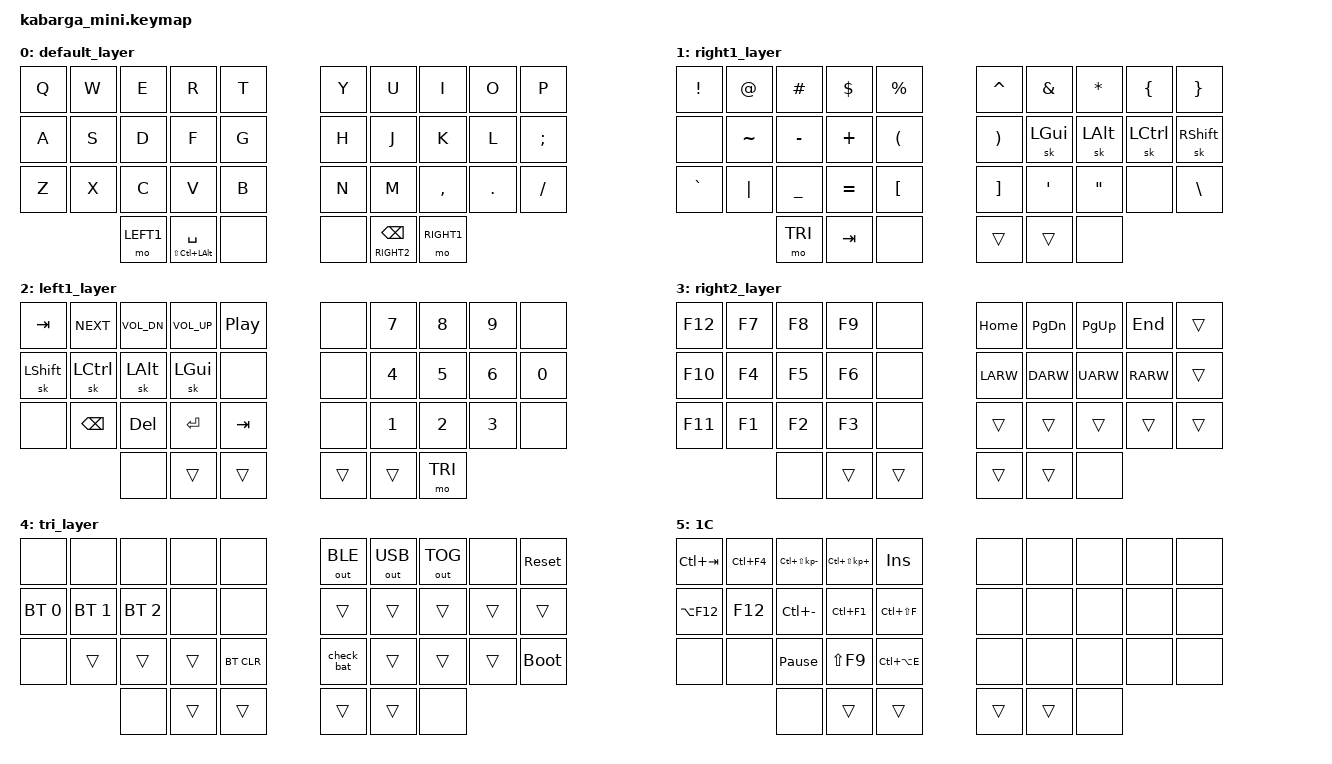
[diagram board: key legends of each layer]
/*
 * Copyright (c) 2020 The ZMK Contributors
 *
 * SPDX-License-Identifier: MIT
 */

#include <behaviors.dtsi>
#include <dt-bindings/zmk/keys.h>
#include <dt-bindings/zmk/bt.h>
#include <dt-bindings/zmk/outputs.h>
#include <dt-bindings/zmk/ext_power.h>
#include <dt-bindings/zmk/rgb.h>

#define DEFAULT 0
#define RIGHT1   1
#define LEFT1    2
#define RIGHT2   3
#define TRI      4
#define ODIN_C   5

&lt {
    tapping-term-ms = <250>;
};

&mt {
    tapping-term-ms = <250>;
    flavor = "tap-preferred";
};

&sl {
    release-after-ms = <1000>;
};

/ {
    macros {
        language_macro: language_macro {
            compatible = "zmk,behavior-macro";
            #binding-cells = <0>;
            wait-ms = <10>;
            tap-ms = <5>;
            bindings
                = <&kp LS(LC(LA(BSLH)))>
                , <&kp LA(LSHIFT)>
                // , <&kp LG(LA(F2))>
                // , <&kp LS(LC(LA(LEFT_BRACKET)))> // {
                ;
        };
        language_macro_ru: language_macro_ru {
            compatible = "zmk,behavior-macro";
            #binding-cells = <0>;
            wait-ms = <10>;
            tap-ms = <5>;
            bindings
                = <&kp LS(LC(LA(MINUS)))>
                , <&kp LA(LSHIFT)>
                // , <&kp LG(LA(F3))>
                // , <&kp LS(LC(LA(RIGHT_BRACKET)))> // }
                ;
        };
    };

    combos {
        #include "combos.dtsi"
    };

    keymap {
        compatible = "zmk,keymap";
        default_layer {
            bindings = <
        //╭──────────┬──────────┬──────────┬──────────┬──────────╮        ╭──────────┬──────────┬──────────┬──────────┬──────────╮
        //│  Q       │  W       │  E       │  R       │  T       │        │  Y       │  U       │  I       │  O       │  P       │
            &kp Q      &kp W      &kp E      &kp R      &kp T               &kp Y      &kp U      &kp I      &kp O      &kp P
        //├──────────┼──────────┼──────────┼──────────┼──────────┤        ├──────────┼──────────┼──────────┼──────────┼──────────┤
        //│  A       │  S       │  D       │  F       │  G       │        │  H       │  J       │  K       │  L       │ ; :      │
            &kp A      &kp S      &kp D      &kp F      &kp G               &kp H      &kp J      &kp K      &kp L     &kp SEMI
        //├──────────┼──────────┼──────────┼──────────┼──────────┤        ├──────────┼──────────┼──────────┼──────────┼──────────┤
        //│  Z       │  X       │  C       │  V       │  B       │        │  N       │  M       │ , <      │ . >      │ / ?      │
            &kp Z      &kp X      &kp C      &kp V      &kp B               &kp N      &kp M      &kp COMMA  &kp DOT    &kp FSLH
        //╰──────────┴──────────┴──────────┼──────────┼──────────┤        ├──────────┼──────────┼──────────┴──────────┴──────────╯
                       &mo LEFT1  &mt LS(LC(LALT)) SPACE &none              &none      &lt RIGHT2 BSPC   &mo RIGHT1 
        //                                 ╰──────────┴──────────╯        ╰──────────┴──────────╯
            >;
        };

        right1_layer {
            bindings = <
        //╭──────────┬──────────┬──────────┬──────────┬──────────╮   ╭──────────┬──────────┬──────────┬──────────┬──────────╮
        //│ !        │  @       │  #       │  $       │ %        │   │  ^       │  &       │  *       │  {       │  }       │
            &kp EXCL   &kp AT     &kp HASH   &kp DLLR   &kp PRCNT      &kp CARET  &kp AMPS   &kp ASTRK  &kp LBRC   &kp RBRC
        //├──────────┼──────────┼──────────┼──────────┼──────────┤   ├──────────┼──────────┼──────────┼──────────┼──────────┤
        //│ XXXXXX   │  ~       │  -       │  +       │ (        │   │   )      │  Command │  Option  │~Control~ │  ~Shift~ │
            &none      &kp TILDE  &kp MINUS  &kp PLUS  &kp LPAR        &kp RPAR   &sk LGUI   &sk LALT  &sk LCTRL   &sk RSHIFT
        //├──────────┼──────────┼──────────┼──────────┼──────────┤   ├──────────┼──────────┼──────────┼──────────┼──────────┤
        //│ `        │ |        │ _        │  =       │  [       │   │    ]     │  '       │  "       │  XXXXXX  │    \     │
            &kp GRAVE  &kp PIPE   &kp UNDER  &kp EQUAL  &kp LBKT       &kp RBKT   &kp SQT    &kp DQT    &none       &kp BSLH
        //╰──────────┴──────────┴──────────┼──────────┼──────────┤   ├──────────┼──────────┼──────────┴──────────┴──────────╯
                                  &mo TRI     &kp TAB    &none          &trans     &trans    &none
        //                                 ╰──────────┴──────────╯   ╰──────────┴──────────╯
            >;
        };


        left1_layer {
            bindings = <
        //╭──────────┬──────────┬──────────┬──────────┬──────────╮   ╭──────────┬──────────┬──────────┬──────────┬──────────╮
        //│ Prev song│ Next song│ Vol Down │ Vol UP   │ Pause    │   │ XXXXXX   │  7       │  8       │  9       │  XXXXXX  │
            &kp TAB   &kp C_NEXT &kp C_VOL_DN &kp C_VOL_UP &kp C_PP      &none     &kp N7     &kp N8     &kp N9     &none    
        // &bt BT_SEL 0  &bt BT_SEL 1 &bt BT_SEL 2 &bt BT_SEL 3 &bt BT_SEL 4    &trans     &kp N7     &kp N8     &kp N9     &trans 
        //├──────────┼──────────┼──────────┼──────────┼──────────┤   ├──────────┼──────────┼──────────┼──────────┼──────────┤
        //│ ~Shift~  │ ~Control~│  Option  │  Command │ XXXXXX   │   │  XXXXXX  │  4       │  5       │  6       │  0       │
           &sk LSHIFT  &sk LCTRL  &sk LALT   &sk LGUI  &none           &none     &kp N4     &kp N5     &kp N6     &kp N0
        //├──────────┼──────────┼──────────┼──────────┼──────────┤   ├──────────┼──────────┼──────────┼──────────┼──────────┤
        //│  XXXXXX  │  Delete  │Backspace │ ENTER    │ TAB      │   │  XXXXXX  |  1       │  2       │  3       │ XXXXXX   │
            &none       &kp BSPC  &kp DEL   &kp ENTER  &kp TAB          &none     &kp N1     &kp N2     &kp N3      &none
        //╰──────────┴──────────┴──────────┼──────────┼──────────┤   ├──────────┼──────────┼──────────┴──────────┴──────────╯
                                  &none      &trans     &trans         &trans     &trans     &mo TRI
        //                                 ╰──────────┴──────────╯   ╰──────────┴──────────╯
            >;
        };

        right2_layer {
            bindings = <
        //╭──────────┬──────────┬──────────┬──────────┬──────────╮   ╭──────────┬──────────┬──────────┬──────────┬──────────╮
        //│  F12     │   F7     │   F8     │   F9     │  XXXXXX  │   │ HOME     │ PAGE DN  │ PAGE UP  │ END      │          │
            &kp F12     &kp F7     &kp F8     &kp F9     &none          &kp HOME   &kp PG_DN  &kp PG_UP  &kp END   &trans
        //├──────────┼──────────┼──────────┼──────────┼──────────┤   ├──────────┼──────────┼──────────┼──────────┼──────────┤
        //│  F10     │   F4     │   F5     │   F6     │  XXXXXX  │   │ LEFT     │ DOWN     │ UP       │ RIGHT    │          │
            &kp F10     &kp F4     &kp F5     &kp F6     &none          &kp LARW   &kp DARW   &kp UARW   &kp RARW  &trans
        //├──────────┼──────────┼──────────┼──────────┼──────────┤   ├──────────┼──────────┼──────────┼──────────┼──────────┤
        //│  F11     │   F1     │   F2     │   F3     │  XXXXXX  │   │          │          │          │          │          │
            &kp F11     &kp F1     &kp F2     &kp F3     &none          &trans     &trans     &trans     &trans    &trans
        //╰──────────┴──────────┴──────────┼──────────┼──────────┤   ├──────────┼──────────┼──────────┴──────────┴──────────╯
                                   &none      &trans     &trans         &trans     &trans     &none
        //                                 ╰──────────┴──────────╯   ╰──────────┴──────────╯
            >;
        };

        tri_layer {
            bindings = <
        //╭──────────┬──────────┬──────────┬──────────┬──────────╮   ╭──────────┬──────────┬──────────┬──────────┬──────────╮
        //│          │          │          │          │          │   │          │          │          │          │  RESET   │
           &none       &none      &none      &none      &none       &out OUT_BLE &out OUT_USB &out OUT_TOG &none  &sys_reset
        //├──────────┼──────────┼──────────┼──────────┼──────────┤   ├──────────┼──────────┼──────────┼──────────┼──────────┤
        //│PROFILE 0 │PROFILE 1 │PROFILE 2 │          │          │   │          │          │          │          │          │
    &bt BT_SEL 0  &bt BT_SEL 1 &bt BT_SEL 2  &none      &none           &trans     &trans     &trans     &trans    &trans
        //├──────────┼──────────┼──────────┼──────────┼──────────┤   ├──────────┼──────────┼──────────┼──────────┼──────────┤
        //│          │          │          │          │ CLEAR BT │   │          │          │          │          │BOOTLOADER│
            &none      &trans     &trans    &trans     &bt BT_CLR      &check_bat    &trans     &trans     &trans    &bootloader
        //╰──────────┴──────────┴──────────┼──────────┼──────────┤   ├──────────┼──────────┼──────────┴──────────┴──────────╯
                                  &none      &trans     &trans         &trans     &trans      &none
        //                                 ╰──────────┴──────────╯   ╰──────────┴──────────╯
            >;
        };


        odin_c_layer {
            display-name = "1C";
            bindings = <
        //╭──────────┬──────────┬─────────          ─┬──────────          ┬──────────╮   ╭──────────┬──────────┬──────────┬──────────┬──────────╮
        //│          │          │                    │                    │          │   │          │          │          │          │          │
        &kp LC(TAB) &kp LC(F4)   &kp LC(LS(KP_MINUS)) &kp LC(LS(KP_PLUS)) &kp INS          &none      &none      &none      &none       &none
        //├──────────┼──────────┼─────────          ─┼──────────          ┼──────────┤   ├──────────┼──────────┼──────────┼──────────┼──────────┤
        //│          │          │                    │                    │          │   │          │          │          │          │          │
          &kp LA(F12) &kp F12     &kp LC(MINUS)       &kp LC(F1)           &kp LC(LS(F))   &none      &none      &none      &none       &none
        //├──────────┼──────────┼─────────          ─┼──────────          ┼──────────┤   ├──────────┼──────────┼──────────┼──────────┼──────────┤
        //│          │          │                    │                    │          │   │          │          │          │          │          │
           &none      &none       &kp PAUSE_BREAK    &kp LS(F9)           &kp LC(LA(E))    &none      &none      &none      &none       &none
        //╰──────────┴──────────┴─────────          ─┼──────────          ┼──────────┤   ├──────────┼──────────┼──────────┴──────────┴──────────╯
                                  &none               &trans               &trans          &trans     &trans     &none
        //                                           ╰──────────          ┴──────────╯   ╰──────────┴──────────╯
            >;
        };


    };
};





// #define DEF 0
// #define LWR 1
// #define RSE 2
// #define ADJ 3

// /*
// * &lt { quick_tap_ms = <220>; };
// * &mt { quick_tap_ms = <220>; };
//  */

// &lt {
//     quick_tap_ms = <220>;
//     require-prior-idle-ms = <150>;
//     flavor = "balanced";
//     tapping-term-ms = <280>;
// };

// &mt {
//     quick_tap_ms = <220>;
//     tapping-term-ms = <280>;
//     require-prior-idle-ms = <150>;
//     flavor = "balanced";
// };

// / {
//     macros {
//         numdot: numdot {
//             label = "ZM_numdot";
//             compatible = "zmk,behavior-macro";
//             #binding-cells = <0>;
//             wait-ms = <40>;
//             tap-ms = <40>;
//             bindings
//                 = <&macro_press   &kp LALT>    
//                 , <&macro_tap     &kp KP_N4 &kp KP_N6>    
//                 , <&macro_release &kp LALT>
//                 ;
//         };
//         grtsgn: grtsgn {
//             label = "ZM_grtsgn";
//             compatible = "zmk,behavior-macro";
//             #binding-cells = <0>;
//             wait-ms = <40>;
//             tap-ms = <40>;
//             bindings
//                 = <&macro_press   &kp LALT>    
//                 , <&macro_tap     &kp KP_N6 &kp KP_N2>    
//                 , <&macro_release &kp LALT>
//                 ;
//         };
//     };
// };
// / {
//         keymap {
//                 compatible = "zmk,keymap";

//                 default_layer {
// // ------------------------------------------------------------------------------------------------
// //|  Q  |  W  |  E  |  R  |  T  |   |  Y  |  U   |  I  |  O  |  P  | 
// //|  A  |  S  |  D  |  F  |  G  |   |  H  |  J   |  K  |  L  |  ;  |
// //|  Z  |  X  |  C  |  V  |  B  |   |  N  |  M   |  ,  |  .  |  /  |
// //            | RSE | SPC | LWR |   | LWR | BKSP | RSE |
//                         bindings = <
//  &kp Q &kp W &kp E &kp R &kp T               &kp Y  &kp U  &kp I     &kp O   &kp P    
//  &kp A &kp S &kp D &kp F &kp G               &kp H  &kp J  &kp K     &kp L   &kp SEMI 
//  &kp Z &kp X &kp C &kp V &kp B               &kp N  &kp M  &kp COMMA &kp DOT &kp FSLH 
//         &lt RSE TAB &mt LSHFT SPACE &lt LWR RET              &lt LWR ESC &mt RSHFT BSPC &lt RSE DEL
//                         >;
//                 };
//                 lower_layer {
// // -----------------------------------------------------------------------------------------
// //|  *  |  7 |  8  |  9  |  +  |    |  !  |  @  |  #  |  $  |  %  |
// //|  /  |  4 |  5  |  6  |  -  |    |  ^  |  &  |  *  |  (  |  )  |
// //|  0  |  1 |  4  |  3  |  .  |    |  ls |  F4 |  F5 |  F6 |  F7 |
// //                 | ADJ | ___ | ___ |    | ___ | ___ | ADJ |
//                         bindings = <
//  &kp KP_MULTIPLY  &kp N7 &kp N8   &kp N9      &kp PLUS                    &kp EXCL      &kp AT    &kp HASH   &kp DLLR  &kp PRCNT 
//  &kp KP_SLASH     &kp N4 &kp N5   &kp N6      &kp MINUS                   &kp CARET     &kp AMPS  &kp STAR   &kp LPAR  &kp RPAR  
//  &kp N0           &kp N1 &kp N2   &kp N3      &numdot                     &kp LG(SPACE) &kp F4    &kp F5     &kp F6    &studio_unlock    
//                                                   &lt ADJ TAB &trans &trans        &trans &trans        &lt ADJ DEL
//                         >;
//                 };
//                 raise_layer {
// // -----------------------------------------------------------------------------------------
// //| VOLU  |  PGUP  | PLAY | HOME | ___  |            | ___  | HOME | PLAY| PGUP | VOLU |
// //| VOLD  |  LEFT  |  UP  | DOWN | RGHT |            | RGHT | DOWN | UP  | LEFT | VOLD | 
// //| MUTE  |  PGDN  |  ___ | END  | ___  |            | ___  | END  | ___ | PGDN | MUTE |
// //                  | ___ | ___  | ADJ  |            | ADJ  | ___  | ___ |
//                         bindings = <
// &kp C_VOL_UP   &kp PG_UP  &kp C_PP       &kp HOME &kp C_PAUSE                                 &kp N0    &kp HOME  &kp C_PP    &kp PG_UP  &kp C_VOL_UP  
// &kp C_VOL_DN   &kp LEFT   &kp UP         &kp DOWN &kp RIGHT                                   &kp LEFT  &kp DOWN  &kp UP      &kp RIGHT  &kp C_VOL_DN   
// &kp C_MUTE     &kp PG_DN  &kp LG(LS(S))  &kp END  &kp C_PLAY                                  &kp N0    &kp END   &grtsgn      &kp PG_DN  &kp C_MUTE    
//                &trans   &trans       &lt ADJ RET        &lt ADJ ESC &trans &trans
//                         >; 
//                 };
//                                 adjust_layer {
// // -----------------------------------------------------------------------------------------
// //|     |     |     |     |     |   |     |     |     |     |     |
// //| BT0 | BT1 | BT2 | BT3 | BT4 |   | BT4 | BT3 | BT2 | BT1 | BT0 |
// //|NUMLK|     |     |     |     |   |     |     |     |     |     |
// //            |     |     |     |   |     |     |     |
//                         bindings = <
// &studio_unlock         &none        &none        &none        &none                     &out OUT_BLE &out OUT_USB &out OUT_TOG &none         &bootloader
// &bt BT_SEL 0  &bt BT_SEL 1 &bt BT_SEL 2 &none        &none                     &none &bt BT_SEL 2 &bt BT_SEL 1 &bt BT_SEL 0  &bt BT_CLR
// &kp KP_NUM    &none        &none        &none        &check_bat                &none        &none        &none        &none         &ext_power EP_OFF 
//                                                               &trans       &none     &trans           &trans &none        &trans
//                         >;
//                 };
//         };
// };
